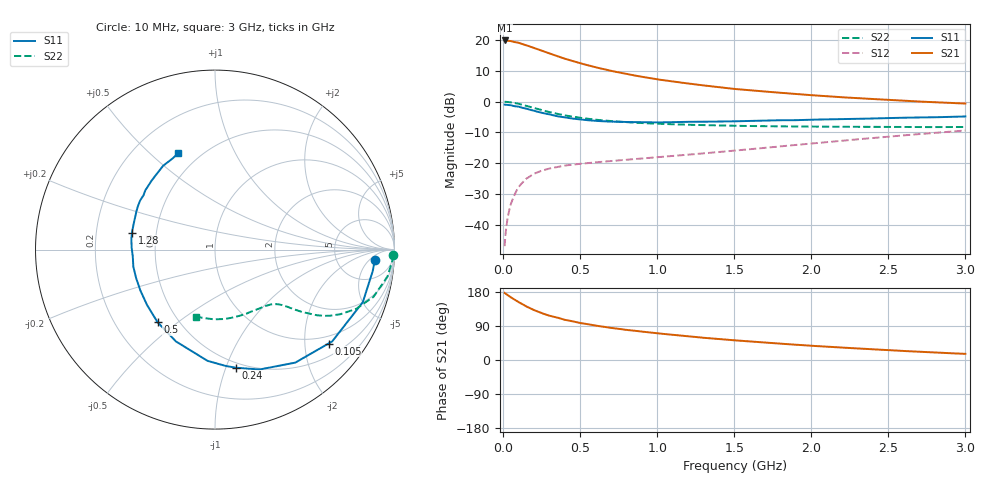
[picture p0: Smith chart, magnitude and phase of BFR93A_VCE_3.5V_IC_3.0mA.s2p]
! Infineon Technologies  Discrete & RF Semiconductors
! BFR93A
! VCE =  3.5 V,  IC =  3.0 mA
! Common Emitter S-Parameters:  Nov 2015
# GHz  S  MA  R  50
!  f  S11  S21  S12  S22
! GHz  MAG  ANG  MAG  ANG  MAG  ANG  MAG  ANG
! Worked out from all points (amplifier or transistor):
!   180 points, 10 MHz to 3 GHz, reference 50 ohm
!   highest |S21| = 19.7 dB at 10 MHz (marker M1)
!   |S21| within 3 dB of that: start of sweep to 233.2 MHz
!   unconditionally stable (mu >= 1): 883.2 MHz to 2.704 GHz
!   at 160 MHz: K = 0.25, MSG = 21.3 dB, |S12| = -24.6 dB
!   at 1.22 GHz: K = 1.13, MAG = 9.2 dB, |S12| = -17.1 dB
!   at 3 GHz: K = 0.95, MSG = 4.4 dB, |S12| = -9.4 dB
!   S11 on the Smith chart (normalised r, x): 10 MHz: 13, -8; 105 MHz: 0.80, -2.56; 240 MHz: 0.46, -1.09; 500 MHz: 0.39, -0.42; 1.28 GHz: 0.36, +0.09; 3 GHz: 0.39, +0.62
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0.01  0.8922 -3.9  9.711 177.0  0.0046 88.6  0.9931 -1.8
0.015  0.889 -5.8  9.697 175.5  0.0068 86.2  0.9914 -2.7
0.025  0.8821 -9.7  9.641 172.6  0.0111 83.2  0.9864 -4.5
0.05  0.8741 -19.6  9.49 165.4  0.0218 79.5  0.9725 -8.9
0.1  0.8294 -38.1  8.921 152.9  0.0412 69.6  0.9215 -16.6
0.105  0.8208 -39.6  8.829 151.8  0.0427 68.6  0.9143 -17.2
0.15  0.7724 -54.6  8.151 141.4  0.0564 61.9  0.8537 -22.7
0.2  0.7127 -69.6  7.38 131.8  0.0679 56.0  0.7869 -27.2
0.24  0.6685 -79.9  6.777 125.4  0.0746 52.2  0.7388 -29.9
0.3  0.6213 -93.8  5.999 117.0  0.0826 48.3  0.6755 -32.8
0.4  0.5562 -113.0  4.929 106.1  0.0922 44.3  0.5973 -35.6
0.5  0.5156 -128.4  4.154 97.6  0.0986 42.4  0.5452 -37.3
0.52  0.5083 -130.8  4.035 96.4  0.0997 42.4  0.5379 -37.5
0.6  0.4885 -140.8  3.578 90.7  0.104 42.2  0.5088 -38.5
0.7  0.4742 -151.2  3.134 84.7  0.1094 42.6  0.483 -39.7
0.8  0.4673 -160.1  2.79 79.5  0.1143 43.6  0.4639 -41.0
1.02  0.4603 -176.6  2.25 69.7  0.1265 46.2  0.4366 -44.4
1.28  0.4717 168.4  1.85 59.5  0.1439 49.3  0.4169 -49.9
1.52  0.4806 157.5  1.584 51.4  0.1626 51.9  0.4053 -55.8
2.02  0.5104 138.9  1.258 37.1  0.2118 54.6  0.3929 -70.3
2.52  0.5416 124.1  1.056 25.6  0.2735 53.3  0.3887 -87.1
3  0.5739 110.8  0.928 16.2  0.3407 49.4  0.3884 -106.1
